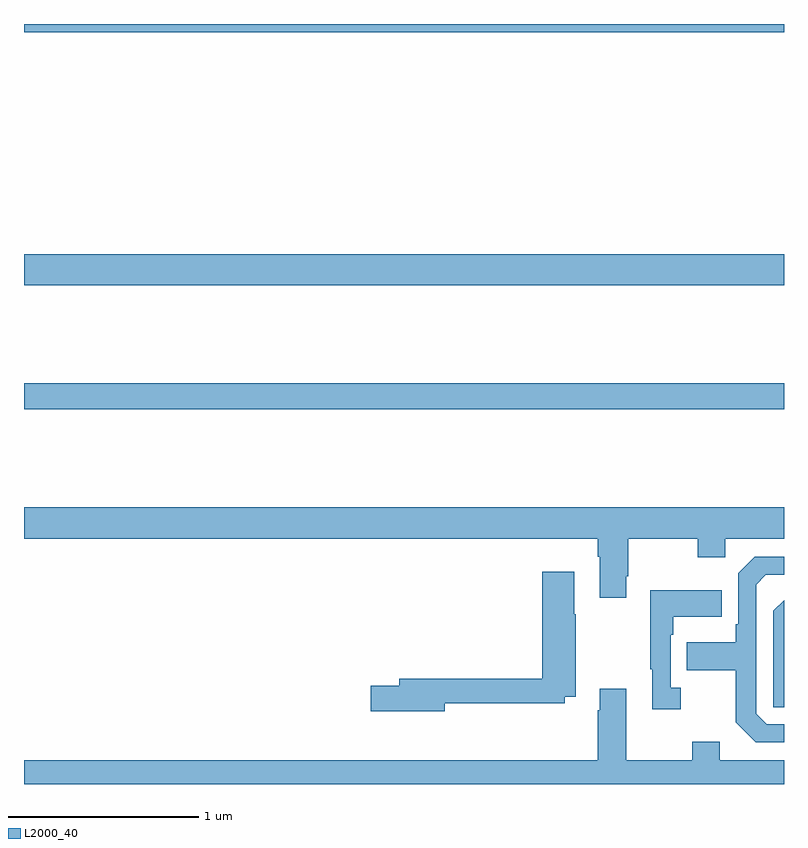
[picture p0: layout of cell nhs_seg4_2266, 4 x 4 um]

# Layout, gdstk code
import gdstk
lib = gdstk.Library(unit=1e-6, precision=1e-09)
def R(c, l, rs):  # rectangles x0, y0, x1, y1
    for r in rs: c.add(gdstk.rectangle(r[:2], r[2:], *l))
def P(c, l, *ps):  # polygons
    for p in ps: c.add(gdstk.Polygon(p, *l))
L2000_40 = (2000, 40)

nhs_seg4_2266 = lib.new_cell('nhs_seg4_2266')
R(nhs_seg4_2266, L2000_40, [(229,758.872,233,759.008), (229,759.524,233,759.688), (229,760.856,233,760.9)])
P(nhs_seg4_2266, L2000_40, [(232.171,757.993),(232.179,757.993),(232.179,758.192),(232.546,758.192),(232.546,758.093),(232.692,758.093),(232.692,758.192),(233,758.192),(233,758.356),(229,758.356),(229,758.192),(232.019,758.192),(232.019,758.096),(232.031,758.096),(232.031,757.881),(232.171,757.881)],
  [(233,757.215),(232.908,757.215),(232.854,757.269),(232.854,757.95),(232.905,758.001),(233,758.001),(233,758.097),(232.845,758.097),(232.758,758.01),(232.758,757.741),(232.746,757.741),(232.746,757.645),(232.489,757.645),(232.489,757.498),(232.746,757.498),(232.746,757.225),(232.851,757.119),(233,757.119)],
  [(231.214,757.326),(231.846,757.326),(231.846,757.358),(231.903,757.358),(231.903,757.793),(231.895,757.793),(231.895,758.017),(231.728,758.017),(231.728,757.454),(230.975,757.454),(230.975,757.418),(230.826,757.418),(230.826,757.283),(231.214,757.283)],
  [(232.456,757.406),(232.404,757.406),(232.404,757.685),(232.417,757.685),(232.417,757.781),(232.673,757.781),(232.673,757.921),(232.296,757.921),(232.296,757.505),(232.307,757.505),(232.307,757.293),(232.456,757.293)],
  [(233,757.868),(232.944,757.812),(232.944,757.305),(233,757.305)],
  [(233,757.024),(232.663,757.024),(232.663,757.123),(232.516,757.123),(232.516,757.024),(232.171,757.024),(232.171,757.402),(232.031,757.402),(232.031,757.289),(232.019,757.289),(232.019,757.024),(229,757.024),(229,756.9),(233,756.9)])

lib.write_gds('nhs_seg4_2266.gds')
